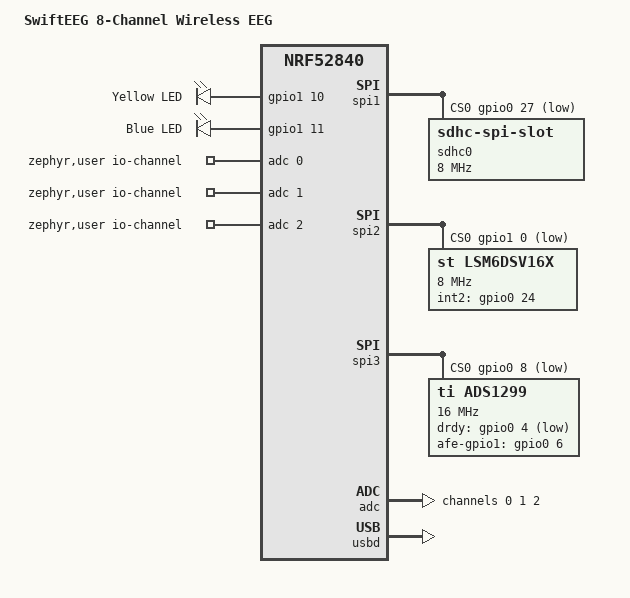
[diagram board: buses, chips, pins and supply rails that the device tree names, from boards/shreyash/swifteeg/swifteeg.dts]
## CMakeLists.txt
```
cmake_minimum_required(VERSION 3.20.0)

# Out-of-tree board lives in this repo.
list(APPEND BOARD_ROOT ${CMAKE_CURRENT_SOURCE_DIR})
list(APPEND DTS_ROOT   ${CMAKE_CURRENT_SOURCE_DIR})

find_package(Zephyr REQUIRED HINTS $ENV{ZEPHYR_BASE})
project(swifteeg_fw LANGUAGES C)

target_sources(app PRIVATE
  src/main.c
  src/board/leds.c
  src/board/supply.c
  src/afe/ads1299.c
  src/imu/imu.c
  src/timebase/timebase.c
  src/pipeline/capture.c
  src/pipeline/pipeline.c
  src/pipeline/chain.c
  src/dsp/dsp.c
  src/dsp/mains.c
  src/sys/ringbuf.c
  src/transport/usb.c
  src/transport/stream.c
  src/transport/command.c
  src/proto/proto.c
  src/transport/ble.c
)

target_include_directories(app PRIVATE src)

# Treat warnings as errors. This is a medical-adjacent signal chain; a
# warning here is a bug we have not diagnosed yet.
target_compile_options(app PRIVATE -Wall -Wextra -Werror)
```

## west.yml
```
# SwiftEEG firmware — west manifest (T2 "application" topology).
#
# Pinned to the NCS version installed on this machine (nrfutil sdk-manager).
# Build reuses that shared workspace directly (see README §4) rather than
# `west update`-ing a second copy here — this manifest exists so a fresh
# machine or CI can `west init -l swifteeg` and get the same SDK version.
manifest:
  remotes:
    - name: nrfconnect
      url-base: https://github.com/nrfconnect

  projects:
    - name: sdk-nrf
      remote: nrfconnect
      revision: v3.4.0
      import: true

  self:
    path: swifteeg
```

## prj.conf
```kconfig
# ---- M1: bring-up only. Streaming, DSP and SD arrive in M2/M4. ----

# Logging over RTT (no spare UART on this board)
CONFIG_LOG=y
# Immediate, NOT deferred. Deferred logging is flushed by a background
# thread, which never runs after a fatal error with interrupts disabled -
# so panics are silently lost, which is precisely when the log matters most.
CONFIG_LOG_MODE_IMMEDIATE=y
CONFIG_LOG_BUFFER_SIZE=4096

# The SEGGER RTT up-buffer defaults to 1 KB and DROPS on overflow in skip
# mode, so boot output was being silently cut off at exactly 1023 bytes -
# right where the USB init messages are. Give it real room.
CONFIG_SEGGER_RTT_BUFFER_SIZE_UP=8192
# Info level. Level 4 floods the log with kernel/MPU tracing.
CONFIG_LOG_DEFAULT_LEVEL=3

CONFIG_GPIO=y
CONFIG_SPI=y

# Sensors
CONFIG_SENSOR=y

# The IMU is driven by src/imu, not by Zephyr's LSM6DSV16X driver. Motion
# samples have to be timestamped on the EEG's clock, through a PPI capture of
# INT2 that the stock driver knows nothing about - and two drivers on one
# chip would fight over its FIFO.
CONFIG_LSM6DSV16X=n

# SAADC, for the VDD rail measurement
CONFIG_ADC=y

# Enough stack for bring-up logging
CONFIG_MAIN_STACK_SIZE=2048
CONFIG_SYSTEM_WORKQUEUE_STACK_SIZE=2048

# Fault diagnosis while bringing hardware up
#
# RESET_ON_FATAL_ERROR=n used to mean a fault (MPU/stack-guard hit, a failed
# ASSERT) halted every thread forever with interrupts locked, while the radio
# link layer's zero-latency ISRs kept the connection looking alive - a
# headset that looks connected while dead, with no supervision timeout to say
# otherwise (R1-ACQ-09). A watchdog reset at least recovers; the reset cause
# is reported at boot (main.c) so a fault still leaves a trace.
CONFIG_RESET_ON_FATAL_ERROR=y
CONFIG_THREAD_NAME=y
CONFIG_ASSERT=y

# ---- Watchdog (R1-ACQ-09) ----
#
# task_wdt gives the command thread's loop and the DSP thread's progress
# (while acquisition runs) their own independently-fed channels - see
# command.c/pipeline.c - on top of the wdt0 hardware watchdog as a fallback
# for a wedge severe enough that even task_wdt's own kernel timer stops
# running. Both settle on the same ~4 s figure: MIN_TIMEOUT plus the default
# 20 ms HW_FALLBACK_DELAY is wdt0's own timeout, comfortably over the
# slowest normal path (a rate-change restart, ~1 s) with room to spare.
# task_wdt unconditionally sets WDT_OPT_PAUSE_HALTED_BY_DBG on the hardware
# fallback, so a debugger halt does not trip it.
CONFIG_WATCHDOG=y
CONFIG_TASK_WDT=y
CONFIG_TASK_WDT_MIN_TIMEOUT=4000

# ---- USB (current usbd stack; the legacy one is DEPRECATED) ----
CONFIG_USB_DEVICE_STACK_NEXT=y
CONFIG_HWINFO=y

# CDC ACM is a serial driver, so SERIAL must be on even though this board
# has no physical UART. The board defconfig disables it; re-enable here.
# Without this USBD_CDC_ACM_CLASS silently stays off and the CDC device
# never gets instantiated (link fails on a missing device ordinal).
CONFIG_SERIAL=y
CONFIG_UART_INTERRUPT_DRIVEN=y
CONFIG_UART_LINE_CTRL=y

# Stack sizes for the USB threads.
#
# The nRF UDC driver thread defaults to 512 bytes, which is NOT enough here:
# CONFIG_LOG_MODE_IMMEDIATE formats log messages inline on the calling
# thread's stack, and any logging from the USB path blows straight through
# it. The symptom is brutal and misleading - an MPU fault with
# "Stack overflow ... Current thread: udc_nrfx", the system halts, and from
# the host side USB looks like a dead cable: the device asserts its D+
# pullup, the host sees an attach, and then nothing answers the descriptor
# request ("USB device not recognized").
CONFIG_UDC_NRF_THREAD_STACK_SIZE=2048
CONFIG_USBD_THREAD_STACK_SIZE=2048

# ---- BLE ----
CONFIG_BT=y
CONFIG_BT_PERIPHERAL=y
CONFIG_BT_DEVICE_NAME="SwiftEEG"
CONFIG_BT_DEVICE_APPEARANCE=0

# 2M PHY and Data Length Extension: together these are what make
# 8ch @ 1 kSPS fit over BLE with headroom.
CONFIG_BT_PHY_UPDATE=y
# Required for the bt_conn_le_phy_update() API; BT_PHY_UPDATE alone only
# permits controller-initiated updates.
CONFIG_BT_USER_PHY_UPDATE=y
CONFIG_BT_DATA_LEN_UPDATE=y
CONFIG_BT_BUF_ACL_TX_SIZE=251
CONFIG_BT_BUF_ACL_RX_SIZE=251
CONFIG_BT_CTLR_DATA_LENGTH_MAX=251

# Large ATT MTU so a sample packet is one notification, not a reassembly.
CONFIG_BT_L2CAP_TX_MTU=247
# Transmit buffers. The pipeline refuses a batch rather than waiting for one
# (ble_transport_send_stream), so this sets how much can be in flight before
# the link starts shedding batches instead of stalling acquisition.
CONFIG_BT_BUF_ACL_TX_COUNT=10
CONFIG_BT_CONN_TX_MAX=10
# The host requires more event buffers than transmit buffers.
CONFIG_BT_BUF_EVT_RX_COUNT=12
CONFIG_BT_ATT_PREPARE_COUNT=2

CONFIG_BT_GATT_DYNAMIC_DB=n
CONFIG_BT_MAX_CONN=1

# The Bluetooth host's receive workqueue ("BT RX WQ") runs every connection,
# subscription and command-write callback. Its 1024-byte default was enough
# until it was not: immediate-mode logging formats on this stack, and with
# FPU sharing an interrupt landing in a callback stacks the FPU registers
# here too. The result was a stack-overflow fault the moment a central
# connected - intermittent, which is the worst kind.
CONFIG_BT_RX_STACK_SIZE=4096

# Generic PPI layer, for the DRDY -> timestamp -> SPI-start hardware path.
# The non-V1 implementation is the one carrying nrfx_gppi_ep_attach, and it
# allocates channels through the shared allocator, which already masks off
# the ones MPSL reserves for the radio.
CONFIG_NRFX_GPPI=y

# Hardware floating point.
#
# The M4F has a single-precision FPU, but Zephyr leaves it off by default and
# the toolchain then links the soft-float libraries - which cost ~96 us per
# 8-channel sample, against ~1 us with the FPU enabled.
#
# Sharing is on because more than one thread touches float: the DSP thread
# runs the filters and other code formats values for logging. Without it,
# only a single thread may use the FPU and the state silently corrupts.
CONFIG_FPU=y
CONFIG_FPU_SHARING=y

# The USB stack logs every packet at INFO. With immediate-mode logging that
# formats and writes on the calling thread, so at streaming rates it costs
# more time than the transfer it is describing - and it buries everything
# else in the log.
CONFIG_USBD_LOG_LEVEL_ERR=y
CONFIG_USBD_CDC_ACM_LOG_LEVEL_ERR=y
CONFIG_UDC_DRIVER_LOG_LEVEL_ERR=y
```

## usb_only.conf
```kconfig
# Diagnostic overlay: everything except BLE.
#
# Once MPSL and the radio are running they hold the bus for radio timing, and
# RTT reads over the ST-Link HLA transport become unreliable - the debug
# connection drops mid-session with "jtag status contains invalid mode value".
# Turning BLE off is the only way to get trustworthy logs with this probe.
#
#   .\tools\build.ps1 -NoBle
CONFIG_BT=n
```

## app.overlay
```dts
/*
 * Application-level hardware choices, kept out of the board files because
 * they are firmware policy rather than facts about the board.
 */

/*
 * TIMER1 is the EEG sample timebase - see src/timebase.
 *
 * No Zephyr driver binds to this node: it is enabled purely so the
 * application can take the peripheral and read its IRQ number from
 * devicetree instead of hard-coding one.
 *
 * TIMER0 is not an option. MPSL owns it, along with RTC0, ECB, RADIO,
 * CLOCK, TEMP and PPI channels 19, 30 and 31.
 */
&timer1 {
	status = "okay";
};

/*
 * SPIM3 belongs to the AFE driver, not to Zephyr's SPI driver.
 *
 * The acquisition path needs the transfer started by PPI on the DRDY edge
 * with no code running in between, which Zephyr's SPI API cannot express.
 * src/afe owns the peripheral through the HAL instead.
 *
 * The node stays in the tree - pinctrl, cs-gpios and the ads1299 child are
 * all still read from devicetree. Only the driver binding is switched off.
 * SPI itself stays enabled for the IMU on spi2.
 */
&spi3 {
	status = "disabled";
};
```

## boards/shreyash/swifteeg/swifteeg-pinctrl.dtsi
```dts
/*
 * Pin assignments taken from SwiftEEG.kicad_sch / .kicad_pcb.
 * SPI instance choice matters: only SPIM3 exceeds 8 MHz on nRF52840,
 * so the ADS1299 must own SPI3.
 */
&pinctrl {
	/* SD card — SPI mode only, 4-bit SDIO is not wired */
	spi1_default: spi1_default {
		group1 {
			psels = <NRF_PSEL(SPIM_SCK, 0, 12)>,
				<NRF_PSEL(SPIM_MOSI, 0, 26)>,
				<NRF_PSEL(SPIM_MISO, 0, 14)>;
		};
	};
	spi1_sleep: spi1_sleep {
		group1 {
			psels = <NRF_PSEL(SPIM_SCK, 0, 12)>,
				<NRF_PSEL(SPIM_MOSI, 0, 26)>,
				<NRF_PSEL(SPIM_MISO, 0, 14)>;
			low-power-enable;
		};
	};

	/* LSM6DSV16X IMU */
	spi2_default: spi2_default {
		group1 {
			psels = <NRF_PSEL(SPIM_SCK, 0, 22)>,
				<NRF_PSEL(SPIM_MOSI, 0, 23)>,
				<NRF_PSEL(SPIM_MISO, 0, 20)>;
		};
	};
	spi2_sleep: spi2_sleep {
		group1 {
			psels = <NRF_PSEL(SPIM_SCK, 0, 22)>,
				<NRF_PSEL(SPIM_MOSI, 0, 23)>,
				<NRF_PSEL(SPIM_MISO, 0, 20)>;
			low-power-enable;
		};
	};

	/* ADS1299 AFE — SPIM3, the only instance that can exceed 8 MHz */
	spi3_default: spi3_default {
		group1 {
			psels = <NRF_PSEL(SPIM_SCK, 0, 7)>,
				<NRF_PSEL(SPIM_MOSI, 1, 8)>,
				<NRF_PSEL(SPIM_MISO, 0, 5)>;
		};
	};
	spi3_sleep: spi3_sleep {
		group1 {
			psels = <NRF_PSEL(SPIM_SCK, 0, 7)>,
				<NRF_PSEL(SPIM_MOSI, 1, 8)>,
				<NRF_PSEL(SPIM_MISO, 0, 5)>;
			low-power-enable;
		};
	};
};
```

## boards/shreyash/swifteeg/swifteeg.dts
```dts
/*
 * SwiftEEG — 8-channel wireless EEG
 * MCU:  Raytac MDBT50Q-1MV2 (nRF52840)
 * AFE:  TI ADS1299IPAGR, SRB1 referential montage
 * IMU:  ST LSM6DSV16XTR
 *
 * Every pin below is taken from the KiCad schematic and cross-checked
 * against the PCB netlist. Do not edit without re-checking the board.
 */

/dts-v1/;
#include <nordic/nrf52840_qiaa.dtsi>
#include "swifteeg-pinctrl.dtsi"
#include <zephyr/dt-bindings/gpio/nordic-nrf-gpio.h>
#include <zephyr/dt-bindings/adc/nrf-saadc.h>

/ {
	model = "SwiftEEG 8-Channel Wireless EEG";
	compatible = "shreyash,swifteeg";

	chosen {
		zephyr,sram = &sram0;
		zephyr,flash = &flash0;
		zephyr,code-partition = &slot0_partition;
		/* No spare UART on this board. RTT is the only log path. */
	};

	leds {
		compatible = "gpio-leds";
		/*
		 * MCU drives the LED anode; cathode returns through 330R to GND.
		 * High drive (H0H1) because standard drive sags under load and
		 * the LEDs are visibly dim on it.
		 *
		 * Headroom is tight by design: at 3.3 V through 330R the yellow
		 * (Vf ~2.0 V) gets ~3.9 mA, but the blue (Vf ~3.0 V) only ~0.9 mA.
		 * Blue stays the dimmer of the two - that is the board, not the
		 * firmware.
		 */
		led_yellow: led_yellow {
			gpios = <&gpio1 10 (GPIO_ACTIVE_HIGH | NRF_GPIO_DRIVE_H0H1)>;
			label = "Yellow LED";
		};
		led_blue: led_blue {
			gpios = <&gpio1 11 (GPIO_ACTIVE_HIGH | NRF_GPIO_DRIVE_H0H1)>;
			label = "Blue LED";
		};
	};

	zephyr,user {
		/* Handles for the three VDD measurement channels above. */
		io-channels = <&adc 0>, <&adc 1>, <&adc 2>;
	};

	aliases {
		led0 = &led_yellow;
		led1 = &led_blue;
		eeg-afe = &ads1299;
		imu = &lsm6dsv16x;
		watchdog0 = &wdt0;
	};
};

&gpiote {
	status = "okay";
};

&gpio0 {
	status = "okay";
};

&gpio1 {
	status = "okay";
};

/* ---- SD card (SPI mode, 1-bit) ---- */
&spi1 {
	compatible = "nordic,nrf-spim";
	status = "okay";
	pinctrl-0 = <&spi1_default>;
	pinctrl-1 = <&spi1_sleep>;
	pinctrl-names = "default", "sleep";
	cs-gpios = <&gpio0 27 GPIO_ACTIVE_LOW>;

	sdhc0: sdhc@0 {
		compatible = "zephyr,sdhc-spi-slot";
		reg = <0>;
		status = "okay";
		spi-max-frequency = <8000000>;
		mmc {
			compatible = "zephyr,sdmmc-disk";
			disk-name = "SD";
			status = "okay";
		};
	};
};

/* ---- LSM6DSV16X IMU ---- */
&spi2 {
	compatible = "nordic,nrf-spim";
	status = "okay";
	pinctrl-0 = <&spi2_default>;
	pinctrl-1 = <&spi2_sleep>;
	pinctrl-names = "default", "sleep";
	cs-gpios = <&gpio1 0 GPIO_ACTIVE_LOW>;

	lsm6dsv16x: lsm6dsv16x@0 {
		compatible = "st,lsm6dsv16x";
		reg = <0>;
		spi-max-frequency = <8000000>;
		/* Only INT2 is routed on this board; INT1 is not connected. */
		int2-gpios = <&gpio0 24 GPIO_ACTIVE_HIGH>;
		status = "okay";
	};
};

/* ---- ADS1299 EEG AFE ----
 * M1 uses the Zephyr SPI API for register access only.
 * M2 takes ownership of SPIM3 via nrfx so DRDY can trigger EasyDMA
 * through PPI with the CPU off the critical path.
 */
&spi3 {
	compatible = "nordic,nrf-spim";
	status = "okay";
	pinctrl-0 = <&spi3_default>;
	pinctrl-1 = <&spi3_sleep>;
	pinctrl-names = "default", "sleep";
	cs-gpios = <&gpio0 8 GPIO_ACTIVE_LOW>;

	ads1299: ads1299@0 {
		compatible = "ti,ads1299";
		reg = <0>;
		spi-max-frequency = <16000000>;	/* ADS1299 SCLK ceiling is 20 MHz */
		drdy-gpios = <&gpio0 4 GPIO_ACTIVE_LOW>;
		afe-gpio1-gpios = <&gpio0 6 GPIO_ACTIVE_HIGH>;
		status = "okay";

		/*
		 * RESET and PWDN are hard pull-ups to DVDD on this board, so
		 * neither can be driven. Reset is by SPI opcode only.
		 * START is unconnected — see the START self-test in src/afe.
		 */
	};
};

/* ---- SAADC ----
 * Channel 0 samples the SoC's own VDD. There is no fuel gauge and VDDH sits
 * on the regulated rail rather than the cell, so this measures the LP5907
 * output, not the battery. It is still the only brownout indication available
 * until a divider jumper is fitted to a free AIN pin.
 *
 * Gain 1/6 against the internal 0.6 V reference gives 3.6 V full scale.
 */
&adc {
	status = "okay";
	#address-cells = <1>;
	#size-cells = <0>;

	/*
	 * Three channels, all sampling the SoC's own VDD, differing only in
	 * gain. This is a deliberate cross-check, not redundancy.
	 *
	 * Full scale is 0.6 V / gain:  1/6 -> 3.6 V, 1/5 -> 3.0 V, 1/4 -> 2.4 V.
	 *
	 * If VDD really is ~2.2 V, all three agree. If VDD is actually ~3.3 V
	 * and the scaling is wrong, the 1/5 and 1/4 channels SATURATE, which
	 * they cannot do if the low reading is genuine. That distinguishes a
	 * real supply problem from a measurement error without a multimeter.
	 */
	channel@0 {
		reg = <0>;
		zephyr,gain = "ADC_GAIN_1_6";
		zephyr,reference = "ADC_REF_INTERNAL";
		zephyr,acquisition-time = <ADC_ACQ_TIME(ADC_ACQ_TIME_MICROSECONDS, 40)>;
		zephyr,input-positive = <NRF_SAADC_VDD>;
		zephyr,resolution = <14>;
	};

	channel@1 {
		reg = <1>;
		zephyr,gain = "ADC_GAIN_1_5";
		zephyr,reference = "ADC_REF_INTERNAL";
		zephyr,acquisition-time = <ADC_ACQ_TIME(ADC_ACQ_TIME_MICROSECONDS, 40)>;
		zephyr,input-positive = <NRF_SAADC_VDD>;
		zephyr,resolution = <14>;
	};

	channel@2 {
		reg = <2>;
		zephyr,gain = "ADC_GAIN_1_4";
		zephyr,reference = "ADC_REF_INTERNAL";
		zephyr,acquisition-time = <ADC_ACQ_TIME(ADC_ACQ_TIME_MICROSECONDS, 40)>;
		zephyr,input-positive = <NRF_SAADC_VDD>;
		zephyr,resolution = <14>;
	};
};

&usbd {
	compatible = "nordic,nrf-usbd";
	status = "okay";

	/*
	 * CDC ACM gives the host a virtual serial port with no driver install
	 * on Windows 10+, macOS or Linux. This is the wired transport for the
	 * binary protocol, and the only path fast enough for 16 kSPS
	 * (~432 kB/s) - BLE cannot carry that.
	 */
	cdc_acm_uart0: cdc_acm_uart0 {
		compatible = "zephyr,cdc-acm-uart";
	};
};

&flash0 {
	partitions {
		compatible = "fixed-partitions";
		#address-cells = <1>;
		#size-cells = <1>;

		/* MCUboot dual-slot. Application must fit in slot0 (0x74000). */
		boot_partition: partition@0 {
			label = "mcuboot";
			reg = <0x00000000 0x0000C000>;
		};
		slot0_partition: partition@c000 {
			label = "image-0";
			reg = <0x0000C000 0x00074000>;
		};
		slot1_partition: partition@80000 {
			label = "image-1";
			reg = <0x00080000 0x00074000>;
		};
		storage_partition: partition@f4000 {
			label = "storage";
			reg = <0x000F4000 0x0000C000>;
		};
	};
};
```

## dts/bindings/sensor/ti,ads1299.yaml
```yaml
# Copyright (c) 2026 Shreyash Singh
# SPDX-License-Identifier: Apache-2.0

description: |
  TI ADS1299 8-channel 24-bit EEG analog front end.

  On the SwiftEEG board RESET and PWDN are tied high through pull-ups and
  cannot be driven, so reset is by SPI opcode only. START is unconnected;
  conversions are controlled by opcode and the driver self-tests for a
  stuck-high START at boot.

compatible: "ti,ads1299"

include: [spi-device.yaml]

properties:
  drdy-gpios:
    type: phandle-array
    required: true
    description: |
      Data-ready output from the AFE, active low. Falling edge marks a new
      sample. Routed to a GPIOTE-capable pin so it can drive PPI.

  afe-gpio1-gpios:
    type: phandle-array
    description: |
      ADS1299 GPIO1. The only AFE GPIO routed on this board; GPIO2..4 are
      unconnected.
```

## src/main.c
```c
/*
 * SwiftEEG firmware - M1 bring-up.
 *
 * Proves the toolchain, board port, flashing and RTT logging, and reports
 * what hardware is actually fitted. Acquisition, DSP and transports arrive
 * in M2.
 *
 * The AFE is deliberately allowed to be missing: two of the three boards are
 * built without an ADS1299, and the firmware must run identically on all of
 * them rather than halting on absent hardware.
 */

#include <zephyr/device.h>
#include <zephyr/drivers/hwinfo.h>
#include <zephyr/kernel.h>
#include <zephyr/logging/log.h>
#include <zephyr/task_wdt/task_wdt.h>

#include "afe/ads1299.h"
#include "board/leds.h"
#include "board/supply.h"
#include "imu/imu.h"
#include "pipeline/capture.h"
#include "pipeline/pipeline.h"
#include "transport/command.h"
#include "transport/stream.h"
#include "timebase/timebase.h"
#include "transport/ble.h"
#include "transport/usb.h"

LOG_MODULE_REGISTER(main, CONFIG_LOG_DEFAULT_LEVEL);

/* Blink the two LEDs out of phase so a stuck pin is obvious at a glance. */
#define BLINK_PERIOD_MS 500

static void report_supply(void)
{
	int mv = supply_read_vdd_mv();

	if (mv < 0) {
		LOG_WRN("VDD read failed (%d)", mv);
		return;
	}

	LOG_INF("VDD rail: %d mV", mv);

	/* Prove the reading rather than trusting a single gain setting. */
	supply_selftest();

	/*
	 * LP5907 is a 3.3 V part. A reading well under that means either the
	 * cell has sagged into the regulator's dropout or the rail is loaded
	 * down - both worth knowing, and both affect LED brightness.
	 */
	if (mv < 3000) {
		LOG_WRN("VDD is low - expected ~3300 mV from the LP5907");
	}
}

/*
 * Reported once at boot so a run that ended in a watchdog reset (R1-ACQ-09)
 * leaves a trace instead of just restarting silently - a failure must never
 * look like a clean start. Cleared afterwards so the NEXT reset's cause is
 * read fresh rather than on top of this one's.
 */
static void report_reset_cause(void)
{
	static const struct {
		uint32_t flag;
		const char *name;
	} known[] = {
		{ RESET_PIN,            "pin" },
		{ RESET_SOFTWARE,       "software" },
		{ RESET_WATCHDOG,       "watchdog" },
		{ RESET_POR,            "power-on" },
		{ RESET_DEBUG,          "debug" },
		{ RESET_CPU_LOCKUP,     "CPU lockup" },
		{ RESET_LOW_POWER_WAKE, "low-power wake" },
	};
	uint32_t cause = 0;

	if (hwinfo_get_reset_cause(&cause) != 0) {
		LOG_WRN("reset cause unavailable");
		return;
	}

	if (cause == 0) {
		LOG_INF("reset cause: none reported");
	}
	for (size_t i = 0; i < ARRAY_SIZE(known); i++) {
		if ((cause & known[i].flag) != 0) {
			LOG_INF("reset cause: %s", known[i].name);
		}
	}

	(void)hwinfo_clear_reset_cause();
}

/*
 * Bring up the task watchdog (R1-ACQ-09).
 *
 * Channels are added by whoever owns the thread being watched - the command
 * thread's own loop, and the DSP thread's progress while acquisition runs
 * (command.c, pipeline.c) - and fed only while that thread is actually
 * making progress, not merely running, so a wedge becomes a reset instead of
 * a headset that looks connected while dead.
 *
 * task_wdt_init(NULL) - software channels only, no hardware fallback -
 * always succeeds, so this retries with NULL if the hardware watchdog is
 * missing or its install fails, rather than ever leaving task_wdt
 * uninitialized: command.c and pipeline.c assume task_wdt_add()/
 * task_wdt_feed() are always safe to call once they run.
 */
static void start_watchdog(void)
{
	const struct device *const wdt_dev = DEVICE_DT_GET(DT_ALIAS(watchdog0));
	const struct device *hw_wdt = device_is_ready(wdt_dev) ? wdt_dev : NULL;

	if (hw_wdt == NULL) {
		LOG_WRN("hardware watchdog not ready - task watchdog will be "
			"software-only");
	}

	int err = task_wdt_init(hw_wdt);

	if (err != 0 && hw_wdt != NULL) {
		LOG_WRN("hardware watchdog install failed (%d) - falling back "
			"to software-only", err);
		err = task_wdt_init(NULL);
	}

	if (err != 0) {
		LOG_ERR("task watchdog unavailable (%d) - running without one",
			err);
	}
}

static bool afe_present;

static void report_afe(void)
{
	struct afe_probe probe;

	if (ads1299_probe(&probe) != 0) {
		LOG_ERR("AFE probe failed to run");
		return;
	}

	switch (probe.result) {
	case AFE_PRESENT:
		afe_present = true;
		LOG_INF("AFE ADS1299: present, ID 0x%02x (8 channels)",
			probe.raw_id);
		if (ads1299_start_pin_stuck_high()) {
			LOG_ERR("AFE START pin reads HIGH - conversions cannot "
				"be stopped. Tie U5 pin 38 to DGND.");
		} else {
			LOG_INF("AFE START pin OK (STOP honoured)");
		}
		break;

	case AFE_ABSENT:
		/* Expected on the boards built without an ADS1299. */
		LOG_INF("AFE ADS1299: %s", afe_probe_str(probe.result));
		break;

	default:
		LOG_WRN("AFE ADS1299: %s (raw ID 0x%02x)",
			afe_probe_str(probe.result), probe.raw_id);
		break;
	}
}

/*
 * Bring up the sample timebase and prove it counts at the right rate.
 *
 * The check is against the kernel clock, which runs from the 32.768 kHz
 * crystal, while the timebase counts HFCLK. Two independent crystals: if
 * they agree the pair is trustworthy, and a disagreement points at whichever
 * one is running off its internal RC oscillator instead.
 */
static void report_timebase(void)
{
	if (timebase_init() != 0) {
		LOG_WRN("timebase unavailable");
		return;
	}

	const uint32_t c0 = k_cycle_get_32();
	const uint64_t t0 = timebase_now_us();

	k_msleep(200);

	const uint64_t t1 = timebase_now_us();
	const uint32_t c1 = k_cycle_get_32();

	const uint64_t tb_us = t1 - t0;
	const uint64_t ref_us = k_cyc_to_us_near64(c1 - c0);

	if (ref_us == 0) {
		LOG_WRN("timebase check: reference clock did not advance");
		return;
	}

	const int64_t delta_us = (int64_t)tb_us - (int64_t)ref_us;

	LOG_INF("timebase: %llu us vs %llu us reference, delta %lld us, HFXO %s",
		tb_us, ref_us, delta_us,
		timebase_hfxo_running() ? "on" : "off");

	/*
	 * This is a coarse check, not a calibration. The reference ticks at
	 * 32.768 kHz, so it quantises to 30.5 us - about 150 ppm over this
	 * window, which swamps the ~40 ppm a pair of crystals would show.
	 *
	 * What it does catch is a clock running off an internal RC oscillator
	 * instead of its crystal, which is off by 1-2 % - two orders of
	 * magnitude larger. Flag at 1 %. The true sample rate gets measured
	 * properly later, by fitting many DRDY captures.
	 */
	if (delta_us > (int64_t)ref_us / 100 || -delta_us > (int64_t)ref_us / 100) {
		LOG_WRN("timebase disagrees with the reference by more than 1 %% - "
			"one of the two is running on its internal RC oscillator");
	}
}

/*
 * Prove the hardware capture path end to end.
 *
 * Configures the AFE, lets it convert for a second, and reports what the
 * DRDY intervals looked like. Nothing is read over SPI here on purpose: this
 * isolates the timestamp path, so a failure points at DRDY, GPIOTE or PPI
 * rather than at the data transfer that comes next.
 *
 * The AFE runs from its own oscillator, so the measured rate is expected to
 * sit near the nominal one rather than on it. That offset is the thing the
 * drift estimator will track.
 */
#define CAPTURE_TEST_MS   1000
#define CAPTURE_NOMINAL_SPS 250

static void report_capture(void)
{
	if (!afe_present) {
		LOG_INF("capture test skipped: no AFE on this board");
		return;
	}

	if (ads1299_configure(ADS1299_DR_250SPS) != 0) {
		LOG_ERR("AFE configuration failed, skipping capture test");
		return;
	}

	if (capture_init() != 0) {
		LOG_ERR("capture path unavailable");
		return;
	}

	if (ads1299_start_conversions() != 0) {
		LOG_ERR("AFE START failed");
		return;
	}

	/*
	 * Poll rather than take interrupts. The capture is done in hardware,
	 * so watching the register move tests DRDY, GPIOTE and PPI on their
	 * own - and it does not care who owns the GPIOTE interrupt.
	 */
	struct capture_stats st;

	capture_measure(CAPTURE_TEST_MS, &st);

	(void)ads1299_stop_conversions();

	if (st.count < 2) {
		LOG_ERR("capture test: %u DRDY edges in %d ms - the AFE is not "
			"converting, or DRDY is not reaching P0.04",
			st.count, CAPTURE_TEST_MS);
		return;
	}

	/* Mean interval over the window, in microseconds. */
	const uint32_t mean_us = (uint32_t)(st.total_us / (st.count - 1));
	const uint32_t sps = (mean_us != 0) ? (TIMEBASE_HZ / mean_us) : 0;

	LOG_INF("capture: %u edges in %d ms -> %u SPS "
		"(interval mean %u us, min %u, max %u)",
		st.count, CAPTURE_TEST_MS, sps, mean_us, st.min_us, st.max_us);

	/*
	 * Jitter is the interesting number. The timestamp is latched in
	 * hardware, so spread here is the AFE's own oscillator plus any
	 * missed edges - not interrupt latency.
	 */
	const uint32_t spread = st.max_us - st.min_us;

	if (spread > mean_us / 10) {
		LOG_WRN("DRDY interval spread %u us is over 10 %% of the mean - "
			"edges are being missed or the AFE is not steady",
			spread);
	}

	if (sps < CAPTURE_NOMINAL_SPS * 9 / 10 ||
	    sps > CAPTURE_NOMINAL_SPS * 11 / 10) {
		LOG_WRN("measured %u SPS is far from the nominal %d SPS",
			sps, CAPTURE_NOMINAL_SPS);
	}
}

/*
 * The motion sensor. Needs the timebase running first: its samples are
 * timestamped on TIMER1, like the EEG's.
 */
static void report_imu(void)
{
	const int err = imu_init();

	if (err == -ENODEV) {
		LOG_INF("IMU: not fitted on this board");
	} else if (err != 0) {
		LOG_ERR("IMU init failed (%d)", err);
	}
}

/*
 * Start acquisition and leave it running.
 *
 * Samples go out over USB as protocol DATA frames, in raw ADC counts by
 * default - which is what the host needs to check the AFE against its own
 * test generator, since a known amplitude in counts is only known before
 * anything filters it.
 *
 * Streaming starts switched off. The host turns it on, so a device sitting
 * on a bench with nobody listening is not filling a buffer nobody reads.
 */
static void start_acquisition(void)
{
	if (!afe_present) {
		LOG_INF("acquisition skipped: no AFE on this board");
		return;
	}

	pipeline_set_sink(stream_on_sample);
	pipeline_set_mains_sink(stream_on_mains);

	if (pipeline_start(ADS1299_DR_250SPS) != 0) {
		LOG_ERR("pipeline failed to start");
		return;
	}

	if (command_init() != 0) {
		LOG_WRN("command handler unavailable");
	}

	LOG_INF("acquiring at 250 SPS; waiting for the host to start the stream");
}

/* Periodic health line, so a long run leaves some evidence in the log. */
static void report_health(void)
{
	if (afe_present) {
		struct pipeline_stats ps;
		struct stream_stats ss;

		struct pipeline_filters pf;

		pipeline_get_stats(&ps);
		stream_get_stats(&ss);
		pipeline_get_filters(&pf);

		LOG_INF("health: %u samples, %u dropped, %u bad; stream %u frames, "
			"%u samples, %u queued out, %u link lost; DSP %u us; "
			"mains %u mHz, notch at %u mHz",
			ps.processed, ps.ring_drops, ps.bad_status,
			ss.frames_sent, ss.samples_sent, ss.queue_dropped,
			ss.ble_dropped,
			ps.dsp_mean_us, (uint32_t)(pf.mains_hz * 1000.0f),
			(uint32_t)(pf.notch_aim_hz * 1000.0f));
	}

	if (imu_present()) {
		struct imu_stats is;

		imu_get_stats(&is);

		/* The period in microseconds, to three decimals. */
		LOG_INF("imu: %u samples, %u frames, %u overruns, %u unpaired, "
			"%u extrapolated, %u timed by poll; period %u.%03u us",
			is.samples, is.frames, is.overruns, is.unpaired,
			is.extrapolated, is.estimated, is.period_us_q8 >> 8,
			((is.period_us_q8 & 0xFFu) * 1000u) >> 8);
	}
}

int main(void)
{
	LOG_INF("SwiftEEG firmware starting (M1 bring-up)");

	report_reset_cause();
	start_watchdog();

	int err = leds_init();
	if (err) {
		LOG_ERR("LED init failed (%d) - halting", err);
		return err;
	}

	report_supply();
	report_afe();
	report_timebase();
	report_capture();
	report_imu();

	/*
	 * Transports are brought up but carry no protocol yet - the codec
	 * lands in M2. A failure here is logged and tolerated: a device that
	 * cannot advertise is still useful over USB, and vice versa.
	 */
	if (usb_transport_init() != 0) {
		LOG_WRN("USB transport unavailable");
	}

	/*
	 * Report the USB regulator state. Sampled after a short delay: the
	 * SoC's internal USB regulator takes a moment to come ready after
	 * VBUS is detected, and reading immediately after usbd_enable()
	 * reports OUTPUTRDY=0 and logs a scary warning about a supply that is
	 * in fact perfectly healthy.
	 */
	k_msleep(50);
	supply_log_usb_status();
	if (ble_transport_init() != 0) {
		LOG_WRN("BLE transport unavailable");
	}

	/* Start out of phase. */
	(void)leds_set(LED_YELLOW, true);
	(void)leds_set(LED_BLUE, false);

	start_acquisition();

	LOG_INF("Entering blink loop");

	uint32_t ticks = 0;

	while (1) {
		(void)leds_toggle(LED_YELLOW);
		(void)leds_toggle(LED_BLUE);
		k_msleep(BLINK_PERIOD_MS);

		/* Roughly every 10 s at a 500 ms blink. */
		if ((afe_present || imu_present()) && (++ticks % 20u) == 0u) {
			report_health();
		}
	}

	return 0;
}
```
